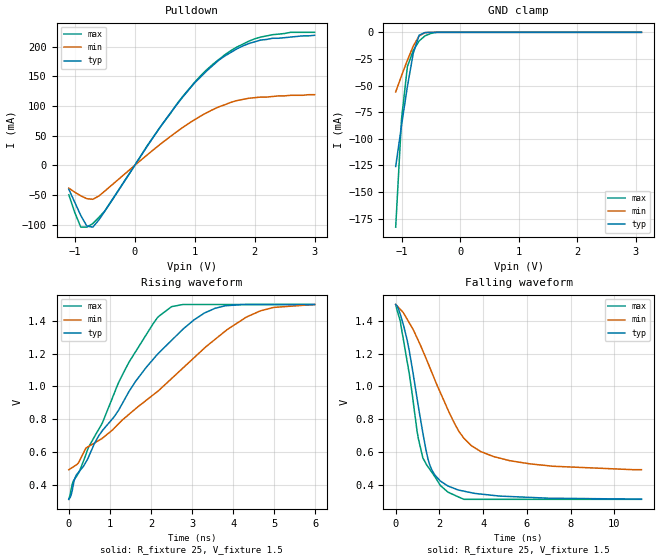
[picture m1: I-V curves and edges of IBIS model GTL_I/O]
| [Disclaimer] Data is for modeling purposes only and is not guaranteed
| [Copyright] Copyright 1996 by Intel Corp.
| From pent200.ibs, Pentium(R)_Pro_Processor, Intel Corp.
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[Model]   GTL_I/O
Model_type  I/O_open_drain
Polarity   Inverting
Enable   Active-Low
Vinl = 0.8
Vinh = 1.2
Vmeas = 1.00
Cref  = 0.00p
Rref  = 25.00
Vref  = 1.50
|Variable   typ   min   max
C_comp   2.7p   2.5p   3.0p
|Variable   typ   min   max
[Voltage range] 3.1   2.845  3.255
|Variable   typ   min   max
[Temperature Range] 80   100   0
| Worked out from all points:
|   slope of the pulldown table from 0 to 0.465 V, typ, clamps not added: 6.63 ohm
|   GND clamp passes 1 mA (typ) near -0.63 V on its own axis
|   rising waveform, R_fixture 25, V_fixture 1.5: 20-80 % time 1.98ns typ, 2.75ns min, 1.39ns max; typ from 0.31 V to 1.5 V
|   falling waveform, R_fixture 25, V_fixture 1.5: 20-80 % time 938ps typ, 2.1ns min, 921ps max; typ from 1.5 V to 0.311 V
[Pulldown]
|Volts   typ   min   max
-1.1V     -40.2mA    -38.3mA    -49.4mA
-900mV    -84.5mA    -51.3mA    -104mA
-800mV    -102mA     -56mA      -104mA
-700mV    -104mA     -57.1mA    -97.9mA
-500mV    -77.2mA    -43.3mA    -76.7mA
200mV     30.9mA     17mA       31.9mA
600mV     89mA       49.1mA     88mA
1V        139mA      77mA       140mA
1.4V      177mA      98.4mA     178mA
1.7V      196mA      109mA      199mA
2.1V      211mA      115mA      216mA
3V        219mA      119mA      224mA
[Pullup]
|Volts   typ   min   max
-1.5V     0A         0A         0A
3V        0A         0A         0A
[GND_clamp]
|Volts   typ   min   max
-1.1V     -126mA     -56mA      -183mA
-1V       -87.3mA    -40.8mA    -81.4mA
-900mV    -50.9mA    -26.2mA    -32.2mA
-800mV    -19.7mA    -13mA      -17.1mA
-700mV    -2.72mA    -3.4mA     -8.13mA
-600mV    -187uA     -323uA     -3.35mA
-500mV    -15.7uA    -28uA      -1.05mA
-400mV    -1.7uA     -3uA       0A
3.1V      0A         0A         0A
[POWER_clamp]
|Volts   typ   min   max
-600mV    0A         0A         0A
0V        0A         0A         0A
[Ramp]
|Variable   typ   min   max
dV/dt_r   0.71/2.62n 0.61/3.59n 0.75/1.50n
dV/dt_f   0.71/6.74n 0.61/6.53n 0.71/0.90n
[Rising Waveform]
R_fixture = 25
V_fixture = 1.5
C_fixture = 0.00pF
|Time   Typ(v)   Min(v)   Max(v)
0s        310mV      491mV      310mV
180ps     458mV      NA         448mV
460ps     557mV      NA         615mV
720ps     695mV      NA         734mV
1.22ns    858mV      NA         1.028V
2.16ns    1.197V     NA         1.421V
2.78ns    1.35V      NA         1.5V
3.56ns    1.477V     NA         1.5V
4.66ns    1.5V       1.461V     1.5V
5.98ns    1.5V       1.5V       1.5V
[Falling Waveform]
R_fixture = 25
V_fixture = 1.5
C_fixture = 0.00pF
|Time   Typ(v)   Min(v)   Max(v)
0s        1.5V       1.5V       1.5V
220ps     1.436V     NA         1.393V
520ps     1.285V     NA         1.155V
1.06ns    858mV      NA         668mV
1.24ns    717mV      NA         564mV
1.66ns    488mV      NA         474mV
2.38ns    392mV      NA         355mV
3.62ns    346mV      NA         310mV
4.74ns    330mV      NA         310mV
11.24ns   311mV      491mV      310mV
